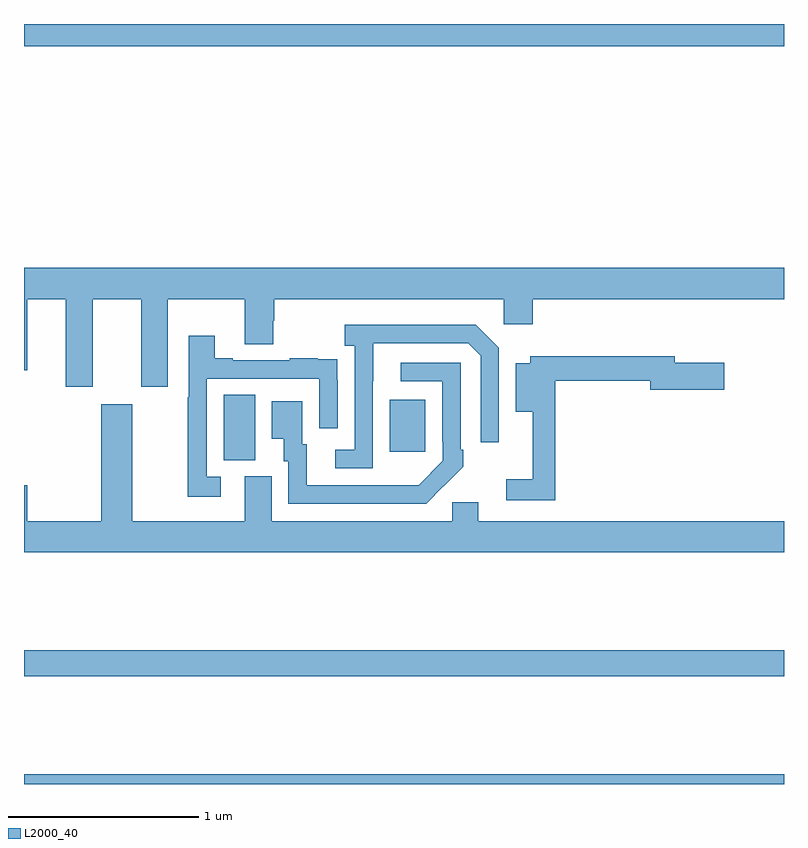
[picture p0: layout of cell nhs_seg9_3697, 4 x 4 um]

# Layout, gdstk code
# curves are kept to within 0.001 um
import gdstk
lib = gdstk.Library(unit=1e-6, precision=1e-09)
def R(c, l, rs):  # rectangles x0, y0, x1, y1
    for r in rs: c.add(gdstk.rectangle(r[:2], r[2:], *l))
def P(c, l, *ps):  # polygons
    for p in ps: c.add(gdstk.Polygon(p, *l))
L2000_40 = (2000, 40)

nhs_seg9_3697 = lib.new_cell('nhs_seg9_3697')
R(nhs_seg9_3697, L2000_40, [(321,1228.5,325,1228.552), (321,1229.068,325,1229.204), (322.052,1230.205,322.216,1230.548), (322.925,1230.249,323.113,1230.523), (321,1232.384,325,1232.5)])
P(nhs_seg9_3697, L2000_40, [(321.361,1231.052),(321.617,1231.052),(321.617,1230.591),(321.757,1230.591),(321.757,1231.052),(322.163,1231.052),(322.163,1230.814),(322.311,1230.814),(322.311,1230.939),(322.316,1230.939),(322.316,1231.052),(323.526,1231.052),(323.526,1230.921),(323.678,1230.921),(323.678,1231.052),(325,1231.052),(325,1231.216),(321,1231.216),(321,1230.678),(321.016,1230.678),(321.016,1231.052),(321.221,1231.052),(321.221,1230.591),(321.361,1230.591)],
  [(322.836,1230.619),(322.837,1230.819),(323.337,1230.819),(323.403,1230.753),(323.403,1230.3),(323.499,1230.3),(323.499,1230.795),(323.378,1230.916),(322.689,1230.916),(322.689,1230.806),(322.74,1230.806),(322.74,1230.258),(322.638,1230.258),(322.638,1230.162),(322.836,1230.162)],
  [(322.036,1230.117),(321.963,1230.117),(321.963,1230.633),(322.554,1230.633),(322.554,1230.372),(322.65,1230.372),(322.65,1230.626),(322.649,1230.626),(322.649,1230.735),(322.547,1230.735),(322.547,1230.742),(322.399,1230.742),(322.399,1230.729),(322.099,1230.729),(322.099,1230.742),(322.003,1230.742),(322.003,1230.859),(321.867,1230.859),(321.867,1230.536),(321.862,1230.536),(321.862,1230.012),(322.036,1230.012)],
  [(323.795,1230.622),(324.296,1230.622),(324.296,1230.575),(324.685,1230.575),(324.685,1230.717),(324.424,1230.717),(324.424,1230.751),(323.664,1230.751),(323.664,1230.715),(323.588,1230.715),(323.588,1230.458),(323.678,1230.458),(323.678,1230.103),(323.538,1230.103),(323.538,1229.994),(323.795,1229.994)],
  [(323.207,1230.067),(323.208,1230.066),(323.313,1230.171),(323.313,1230.259),(323.298,1230.259),(323.298,1230.717),(322.983,1230.717),(322.983,1230.621),(323.202,1230.621),(323.202,1230.301),(323.205,1230.301),(323.205,1230.201),(323.077,1230.073),(322.489,1230.072),(322.489,1230.288),(322.465,1230.288),(322.465,1230.514),(322.304,1230.514),(322.304,1230.317),(322.367,1230.317),(322.367,1230.198),(322.392,1230.198),(322.392,1229.976),(323.116,1229.976)],
  [(325,1229.884),(323.392,1229.884),(323.392,1229.982),(323.253,1229.982),(323.253,1229.884),(322.303,1229.884),(322.303,1230.12),(322.163,1230.12),(322.163,1229.884),(321.571,1229.884),(321.571,1230.499),(321.407,1230.499),(321.407,1229.884),(321.016,1229.884),(321.016,1230.073),(321,1230.073),(321,1229.72),(325,1229.72)])

lib.write_gds('nhs_seg9_3697.gds')
